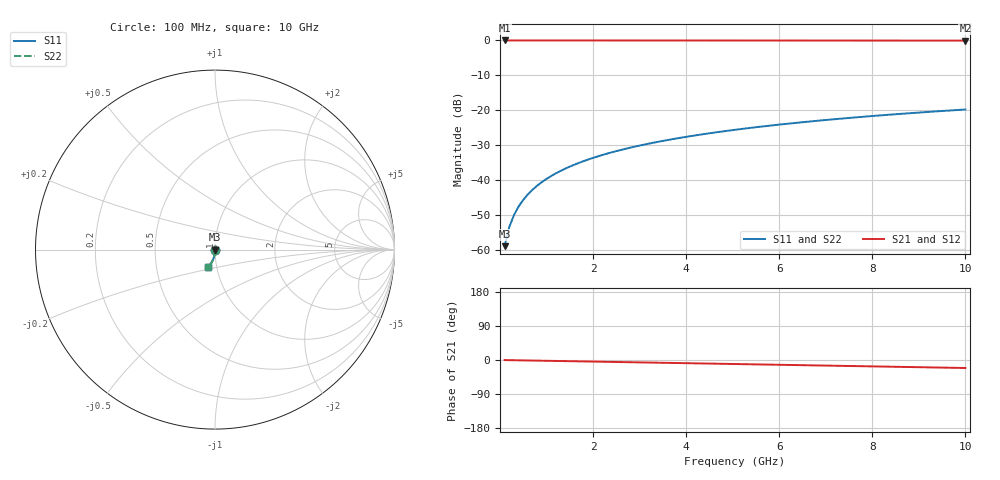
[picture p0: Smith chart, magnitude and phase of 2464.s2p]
# Hz S RI R 50.00
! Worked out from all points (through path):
!   100 points, 100 MHz to 10 GHz, reference 50 ohm
!   highest |S21| = 0.00 dB at 100 MHz (marker M1); lowest = -0.1 dB at 10 GHz (marker M2)
!   group delay of S21, straight-line fit = 5.86 ps
!   lowest |S11| = -58.9 dB at 100 MHz (marker M3), VSWR 1.00, Z = 50 - j0.104 ohm
!   |S11| at or under -10 dB: start of sweep to end of sweep
!   |S22| runs from -58.9 to -19.8 dB; largest |S21 - S12| = 0
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1e8  0.00045 -0.00104  0.9995 -0.00365  0.9995 -0.00365  0.00045 -0.00104
2e8  0.00044 -0.00208  0.9995 -0.0073  0.9995 -0.0073  0.00044 -0.00208
3e8  0.000421 -0.00313  0.9995 -0.0109  0.9995 -0.0109  0.000421 -0.00313
4e8  0.000394 -0.00417  0.9994 -0.0146  0.9994 -0.0146  0.000394 -0.00417
5e8  0.000359 -0.00521  0.9993 -0.0182  0.9993 -0.0182  0.000359 -0.00521
6e8  0.000316 -0.00625  0.9993 -0.0219  0.9993 -0.0219  0.000316 -0.00625
7e8  0.000266 -0.00729  0.9992 -0.0255  0.9992 -0.0255  0.000266 -0.00729
8e8  0.000208 -0.00833  0.9991 -0.0292  0.9991 -0.0292  0.000208 -0.00833
9e8  0.000142 -0.00937  0.9989 -0.0328  0.9989 -0.0328  0.000142 -0.00937
1.1e9  -1.24e-05 -0.0115  0.9986 -0.0401  0.9986 -0.0401  -1.24e-05 -0.0115
1.4e9  -0.000302 -0.0146  0.9981 -0.0511  0.9981 -0.0511  -0.000302 -0.0146
1.8e9  -0.000795 -0.0187  0.9971 -0.0657  0.9971 -0.0657  -0.000795 -0.0187
2.1e9  -0.00124 -0.0218  0.9963 -0.0766  0.9963 -0.0766  -0.00124 -0.0218
2.5e9  -0.00195 -0.026  0.9949 -0.0912  0.9949 -0.0912  -0.00195 -0.026
2.9e9  -0.00278 -0.0301  0.9934 -0.1058  0.9934 -0.1058  -0.00278 -0.0301
3.4e9  -0.00399 -0.0352  0.9911 -0.124  0.9911 -0.124  -0.00399 -0.0352
4.2e9  -0.00631 -0.0433  0.9867 -0.153  0.9867 -0.153  -0.00631 -0.0433
5.1e9  -0.00949 -0.0522  0.9806 -0.1855  0.9806 -0.1855  -0.00949 -0.0522
5.9e9  -0.0128 -0.06  0.9742 -0.2143  0.9742 -0.2143  -0.0128 -0.06
6.7e9  -0.0166 -0.0676  0.9669 -0.2428  0.9669 -0.2428  -0.0166 -0.0676
8.4e9  -0.0261 -0.0828  0.9484 -0.3027  0.9484 -0.3027  -0.0261 -0.0828
1e10  -0.0367 -0.0959  0.9273 -0.3579  0.9273 -0.3579  -0.0367 -0.0959
